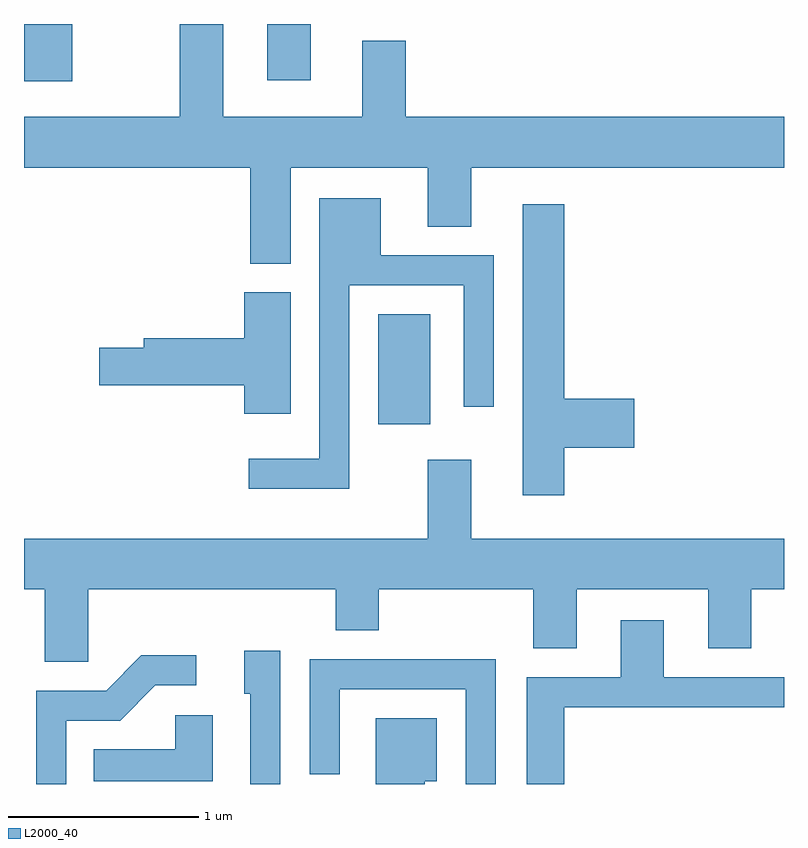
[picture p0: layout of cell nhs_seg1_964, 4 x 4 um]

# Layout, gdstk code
import gdstk
lib = gdstk.Library(unit=1e-6, precision=1e-09)
def R(c, l, rs):  # rectangles x0, y0, x1, y1
    for r in rs: c.add(gdstk.rectangle(r[:2], r[2:], *l))
def P(c, l, *ps):  # polygons
    for p in ps: c.add(gdstk.Polygon(p, *l))
L2000_40 = (2000, 40)

nhs_seg1_964 = lib.new_cell('nhs_seg1_964')
R(nhs_seg1_964, L2000_40, [(217.476,851.606,217.749,852.184), (215.611,853.411,215.864,853.712), (216.891,853.416,217.119,853.712)])
P(nhs_seg1_964, L2000_40, [(217.014,852.956),(217.736,852.956),(217.736,852.646),(217.964,852.646),(217.964,852.956),(219.611,852.956),(219.611,853.224),(217.619,853.224),(217.619,853.624),(217.391,853.624),(217.391,853.224),(216.659,853.224),(216.659,853.712),(216.431,853.712),(216.431,853.224),(215.611,853.224),(215.611,852.956),(216.801,852.956),(216.801,852.451),(217.014,852.451)],
  [(217.324,852.336),(217.926,852.336),(217.926,851.698),(218.084,851.698),(218.084,852.494),(217.489,852.494),(217.489,852.794),(217.166,852.794),(217.166,851.424),(216.793,851.424),(216.793,851.266),(217.324,851.266)],
  [(218.454,851.481),(218.824,851.481),(218.824,851.739),(218.454,851.739),(218.454,852.764),(218.236,852.764),(218.236,851.231),(218.454,851.231)],
  [(217.014,852.299),(216.771,852.299),(216.771,852.059),(216.241,852.059),(216.241,852.009),(216.006,852.009),(216.006,851.811),(216.771,851.811),(216.771,851.661),(217.014,851.661)],
  [(215.949,850.736),(217.251,850.736),(217.251,850.521),(217.479,850.521),(217.479,850.736),(218.291,850.736),(218.291,850.426),(218.519,850.426),(218.519,850.736),(219.211,850.736),(219.211,850.426),(219.439,850.426),(219.439,850.736),(219.611,850.736),(219.611,851.004),(217.964,851.004),(217.964,851.419),(217.736,851.419),(217.736,851.004),(215.611,851.004),(215.611,850.736),(215.721,850.736),(215.721,850.356),(215.949,850.356)],
  [(218.454,850.116),(219.611,850.116),(219.611,850.274),(218.979,850.274),(218.979,850.574),(218.751,850.574),(218.751,850.274),(218.256,850.274),(218.256,849.712),(218.454,849.712)],
  [(216.959,850.414),(216.771,850.414),(216.771,850.186),(216.801,850.186),(216.801,849.712),(216.959,849.712)],
  [(215.834,850.046),(216.117,850.046),(216.302,850.231),(216.518,850.231),(216.518,850.389),(216.229,850.389),(216.044,850.204),(215.676,850.204),(215.676,849.712),(215.834,849.712)],
  [(218.094,850.369),(217.116,850.369),(217.116,849.763),(217.274,849.763),(217.274,850.211),(217.936,850.211),(217.936,849.712),(218.094,849.712)],
  [(216.604,850.074),(216.406,850.074),(216.406,849.894),(215.978,849.894),(215.978,849.726),(216.604,849.726)],
  [(217.719,849.726),(217.784,849.726),(217.784,850.059),(217.461,850.059),(217.461,849.712),(217.719,849.712)])

lib.write_gds('nhs_seg1_964.gds')
